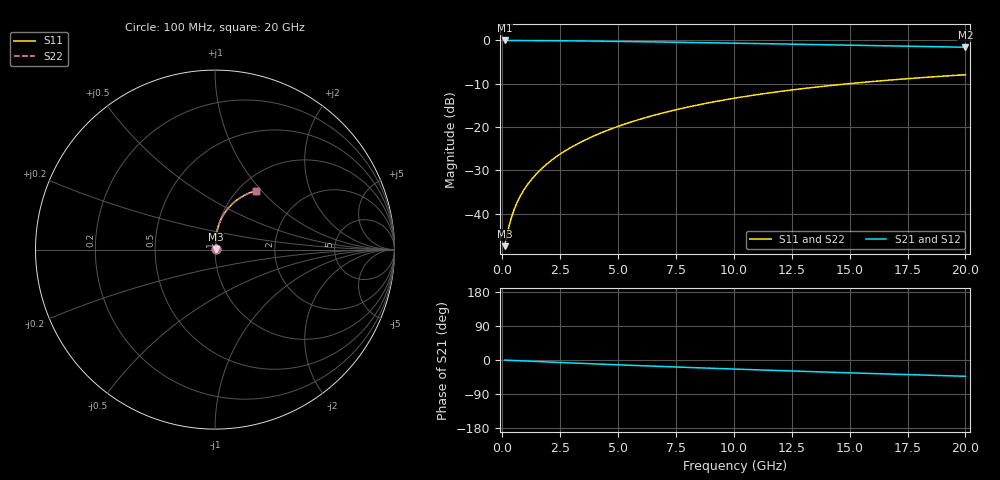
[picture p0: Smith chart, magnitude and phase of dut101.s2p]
! Touchstone file exported from HFSS 2024.1.0
!  File:  C:/UserFiles/LocalFiles/RDL_TSV_Batchsim/temp_RDL_top_101_1778683223.aedt
!  Generated:  10:42:25 PM May 13, 2026
!  Design:  RDL_top
!  Project:  temp_RDL_top_101_1778683223
!  Setup:  Setup1
!  Solution:  Sweep
! Variables:
!  dtsv = 10.80580581um
!  hbump = 3um
!  htsv = 61.72um
!  ldown = 100um
!  lrdl = 575.24um
!  p = 40
!  p1 = 58.15um
!  rhole = 1um
!  t = 450um
!  tdown = 3.915915916um
!  trdl = 2.48um
!  wdown = 15.38538539um
!  wrdl = 24.44um
# GHz S MA R 50.000000
! Terminal data exported
! Port[1] = Box2_T1
! Port[2] = Box2_T2
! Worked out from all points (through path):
!   200 points, 100 MHz to 20 GHz, reference 50 ohm
!   highest |S21| = -0.03 dB at 100 MHz (marker M1); lowest = -1.6 dB at 20 GHz (marker M2)
!   group delay of S21, straight-line fit = 5.91 ps
!   lowest |S11| = -47.5 dB at 100 MHz (marker M3), VSWR 1.01, Z = 50.4 + j0.213 ohm
!   |S11| at or under -10 dB: start of sweep to 14.98 GHz
!   |S22| runs from -47.5 to -7.9 dB; largest |S21 - S12| = 2.6e-15
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0.1  0.004212 30.2  0.9963 -0.3  0.9963 -0.3  0.004212 30.2
! Gamma 0 0 0 0
! Port Impedance 50 0 50 0
0.2  0.005633 48.1  0.9962 -0.6  0.9962 -0.6  0.005633 48.1
0.3  0.007339 57.8  0.996 -0.8  0.996 -0.8  0.007339 57.8
0.4  0.009122 63.4  0.9957 -1.1  0.9957 -1.1  0.009122 63.5
0.5  0.01092 67.2  0.9955 -1.4  0.9955 -1.4  0.01092 67.2
0.6  0.01272 70.0  0.9953 -1.6  0.9953 -1.6  0.01272 70.0
0.8  0.01633 73.9  0.9948 -2.2  0.9948 -2.2  0.01633 73.9
1.1  0.0218 77.5  0.994 -2.9  0.994 -2.9  0.0218 77.5
1.3  0.02551 79.2  0.9934 -3.5  0.9934 -3.5  0.02551 79.2
1.6  0.03116 80.9  0.9924 -4.2  0.9924 -4.2  0.03116 80.9
2.1  0.04079 82.8  0.9904 -5.5  0.9904 -5.5  0.04079 82.8
2.7  0.05271 83.9  0.9875 -7.1  0.9875 -7.1  0.05272 83.9
3.5  0.06919 84.5  0.9827 -9.1  0.9827 -9.1  0.0692 84.5
4.2  0.0841 84.3  0.9779 -10.8  0.9779 -10.8  0.08412 84.4
5  0.1016 83.7  0.9719 -12.7  0.9719 -12.7  0.1017 83.8
6.8  0.1422 81.2  0.9567 -16.9  0.9567 -16.9  0.1422 81.3
8.4  0.1785 78.3  0.9423 -20.5  0.9423 -20.5  0.1786 78.3
10.1  0.2165 74.8  0.9264 -24.1  0.9264 -24.1  0.2166 74.8
11.7  0.2509 71.4  0.9112 -27.4  0.9112 -27.4  0.251 71.5
13.4  0.2857 67.9  0.8949 -30.8  0.8949 -30.8  0.2859 67.9
16.7  0.3473 61.2  0.8631 -37.1  0.8631 -37.1  0.3475 61.2
20  0.4007 55.0  0.8318 -43.0  0.8318 -43.0  0.4009 55.0
